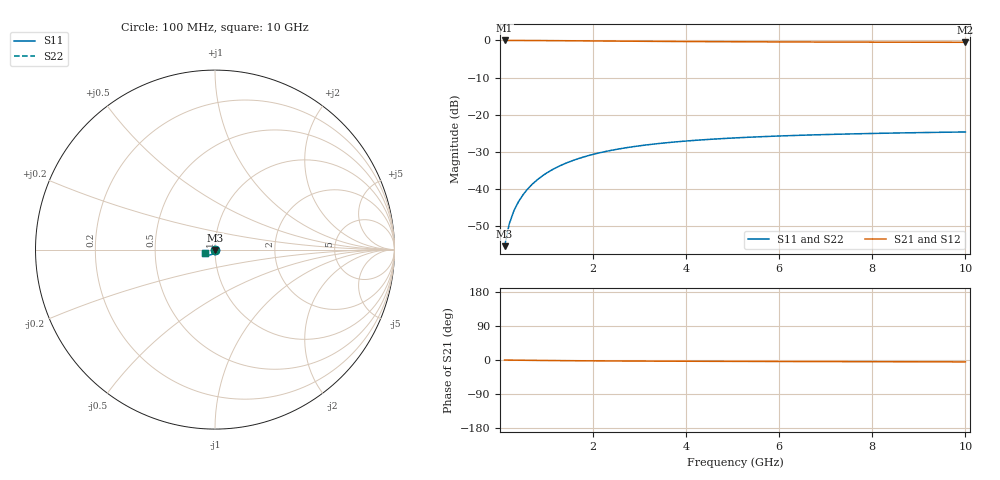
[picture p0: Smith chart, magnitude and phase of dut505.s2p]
! Touchstone file exported from HFSS 2024.1.0
!  File:  C:/UserFiles/LocalFiles/RDL_TSV_Batchsim/temp_TSV1_505_1779702072.aedt
!  Generated:  05:46:34 PM May 25, 2026
!  Design:  TSV1
!  Project:  temp_TSV1_505_1779702072
!  Setup:  Setup1
!  Solution:  Sweep
! Variables:
!  dtsv = 14.16um
!  hbump = 3um
!  htsv = 75.4um
!  lrdl = 252.1521522um
!  p = 40
!  p1 = 49.35um
!  t = 500um
!  trdl = 3um
!  wrdl = 24.89489489um
# GHz S MA R 50.000000
! Terminal data exported
! Port[1] = TSV22_T1
! Port[2] = TSV22_T2
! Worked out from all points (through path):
!   100 points, 100 MHz to 10 GHz, reference 50 ohm
!   highest |S21| = 0.00 dB at 100 MHz (marker M1); lowest = -0.5 dB at 10 GHz (marker M2)
!   lowest |S11| = -55.4 dB at 100 MHz (marker M3), VSWR 1.00, Z = 50 - j0.169 ohm
!   |S11| at or under -10 dB: start of sweep to end of sweep
!   |S22| runs from -55.4 to -24.7 dB; largest |S21 - S12| = 2.8e-15
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0.1  0.001692 -89.0  0.9999 -0.1  0.9999 -0.1  0.001692 -89.0
! Gamma 0 0 0 0
! Port Impedance 50 0 50 0
0.2  0.003382 -91.9  0.9997 -0.3  0.9997 -0.3  0.003382 -91.9
0.3  0.005071 -93.9  0.9994 -0.4  0.9994 -0.4  0.005071 -93.9
0.4  0.00675 -95.9  0.9991 -0.5  0.9991 -0.5  0.00675 -95.9
0.5  0.008412 -97.7  0.9986 -0.7  0.9986 -0.7  0.008412 -97.7
0.6  0.01005 -99.5  0.9981 -0.8  0.9981 -0.8  0.01005 -99.5
0.7  0.01167 -101.2  0.9974 -0.9  0.9974 -0.9  0.01167 -101.2
0.8  0.01325 -102.9  0.9968 -1.1  0.9968 -1.1  0.01325 -102.9
0.9  0.0148 -104.5  0.996 -1.2  0.996 -1.2  0.0148 -104.5
1.1  0.01779 -107.7  0.9943 -1.4  0.9943 -1.4  0.01779 -107.7
1.4  0.02196 -112.2  0.9915 -1.7  0.9915 -1.7  0.02196 -112.2
1.6  0.02453 -115.1  0.9895 -1.9  0.9895 -1.9  0.02453 -115.1
1.8  0.02693 -117.7  0.9874 -2.1  0.9874 -2.1  0.02693 -117.7
2.1  0.03022 -121.4  0.9842 -2.3  0.9842 -2.3  0.03022 -121.4
2.5  0.03405 -125.9  0.9801 -2.6  0.9801 -2.6  0.03405 -125.9
2.9  0.03732 -129.8  0.9762 -2.8  0.9762 -2.8  0.03732 -129.8
3.4  0.04077 -134.2  0.9718 -3.0  0.9718 -3.0  0.04077 -134.2
4.2  0.04513 -139.9  0.9657 -3.3  0.9657 -3.3  0.04513 -139.9
5.1  0.0488 -145.0  0.9603 -3.6  0.9603 -3.6  0.0488 -145.0
6.7  0.05333 -152.0  0.9531 -4.1  0.9531 -4.1  0.05333 -152.0
8.4  0.05645 -157.5  0.9479 -4.6  0.9479 -4.6  0.05645 -157.5
10  0.05846 -161.5  0.9445 -5.0  0.9445 -5.0  0.05846 -161.5
